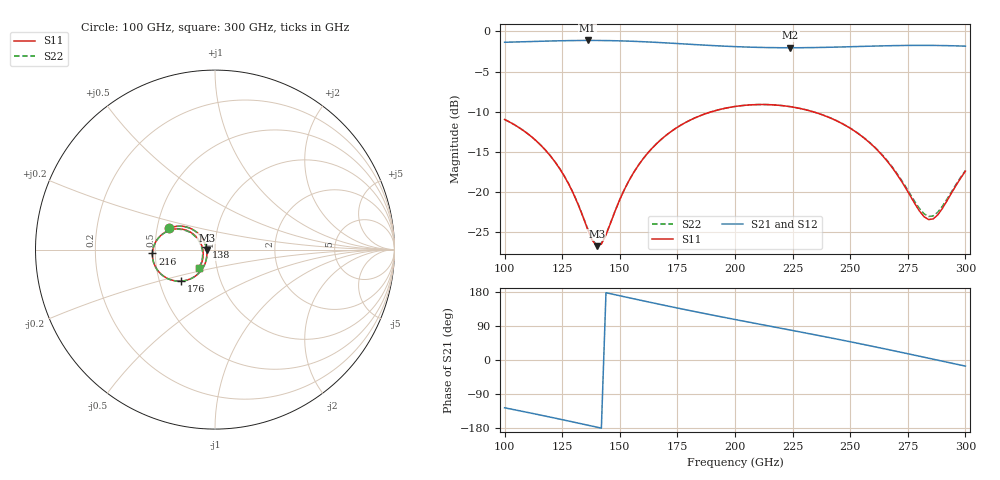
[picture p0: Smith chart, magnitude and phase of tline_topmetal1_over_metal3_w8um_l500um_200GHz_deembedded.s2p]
! Created with skrf 2.2.0 (http://scikit-rf.org).
# GHz S DB R 50.0
! Port[1] = P1
! Port[2] = P2
!freq dBS11 angS11 dBS21 angS21 dBS12 angS12 dBS22 angS22
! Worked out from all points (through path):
!   101 points, 100 GHz to 300 GHz, reference 50 ohm
!   highest |S21| = -1.14 dB at 136 GHz (marker M1); lowest = -2.0 dB at 224 GHz (marker M2)
!   group delay of S21, straight-line fit = 3.43 ps
!   lowest |S11| = -26.7 dB at 140 GHz (marker M3), VSWR 1.10, Z = 45.6 - j0.132 ohm
!   |S11| at or under -10 dB: start of sweep to 189.8 GHz; 233.8 GHz to end of sweep
!   |S22| runs from -26.6 to -9.1 dB; largest |S21 - S12| = 9.7e-14
!   S11 on the Smith chart (normalised r, x): 100 GHz: 0.58, +0.15; 138 GHz: 0.91, +0.02; 176 GHz: 0.65, -0.24; 216 GHz: 0.48, -0.02; 300 GHz: 0.82, -0.17
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100  -10.96 155.2  -1.37 -126.1  -1.37 -126.1  -10.95 155.4
120  -15.53 137.9  -1.21 -151.0  -1.21 -151.0  -15.51 138.2
128  -19.09 136.6  -1.16 -161.4  -1.16 -161.4  -19.06 136.9
134  -23.05 145.4  -1.14 -169.2  -1.14 -169.2  -22.98 145.8
136  -24.57 153.2  -1.14 -171.9  -1.14 -171.9  -24.48 153.6
138  -25.94 165.4  -1.14 -174.5  -1.14 -174.5  -25.83 165.6
140  -26.70 -178.2  -1.14 -177.2  -1.14 -177.2  -26.58 -178.2
144  -25.31 -146.1  -1.16 177.5  -1.16 177.5  -25.24 -146.4
150  -20.91 -126.3  -1.19 169.5  -1.19 169.5  -20.89 -126.5
156  -17.56 -123.4  -1.25 161.6  -1.25 161.6  -17.55 -123.4
168  -13.43 -130.1  -1.41 146.0  -1.41 146.0  -13.43 -130.0
176  -11.75 -137.2  -1.54 135.9  -1.54 135.9  -11.75 -137.1
200  -9.35 -160.8  -1.91 106.9  -1.91 106.9  -9.34 -160.6
216  -9.14 -176.5  -2.03 88.3  -2.03 88.3  -9.13 -176.2
224  -9.37 175.8  -2.05 79.0  -2.05 79.0  -9.36 176.2
234  -10.02 166.4  -2.03 67.3  -2.03 67.3  -10.00 166.9
252  -12.42 151.1  -1.91 45.7  -1.91 45.7  -12.39 151.8
268  -16.85 144.5  -1.79 25.6  -1.79 25.6  -16.76 145.6
280  -22.31 164.0  -1.75 10.0  -1.75 10.0  -22.00 165.1
284  -23.40 -176.7  -1.76 4.8  -1.76 4.8  -23.01 -176.6
288  -22.82 -155.9  -1.77 -0.4  -1.77 -0.4  -22.49 -156.7
300  -17.38 -131.0  -1.85 -16.1  -1.85 -16.1  -17.30 -132.0
